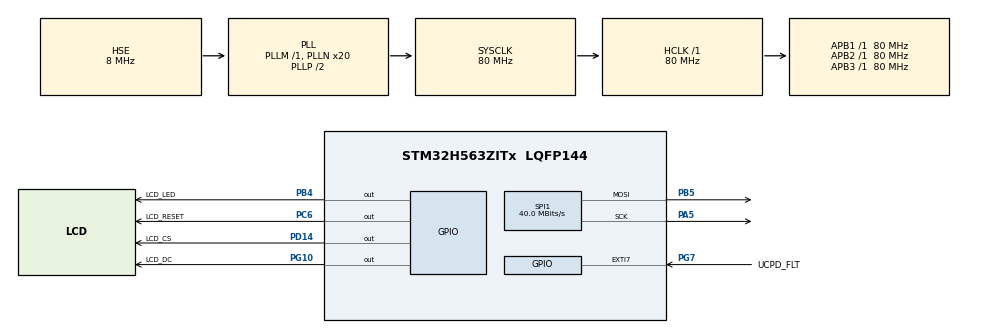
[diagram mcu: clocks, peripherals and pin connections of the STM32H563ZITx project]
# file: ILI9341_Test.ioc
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BOOTPATH.BootPathName=LEGACY
BOOTPATH.UserSelectedBootPath=LEGACY
CORTEX_M33_NS.userName=CORTEX_M33
Mcu.Family=STM32H5
Mcu.Name=STM32H563ZITx
Mcu.Package=LQFP144
NUCLEO-H563ZI.LD1=true
NUCLEO-H563ZI.LD2=true
NUCLEO-H563ZI.LD3=true
NVIC.PriorityGroup=NVIC_PRIORITYGROUP_4
PA1.GPIO_Label=RMII_REF_CLK
PA1.GPIO_Mode=GPIO_MODE_AF_PP
PA1.GPIO_PuPd=GPIO_NOPULL
PA1.GPIO_Speed=GPIO_SPEED_FREQ_LOW
PA1.Signal=ETH_REF_CLK
PA11.GPIO_Label=USB_FS_N
PA11.Signal=USB_DM
PA12.GPIO_Label=USB_FS_P
PA12.Signal=USB_DP
PA13(JTMS/SWDIO).GPIO_Label=SWDIO
PA13(JTMS/SWDIO).Mode=Serial_Wire
PA13(JTMS/SWDIO).Signal=DEBUG_JTMS-SWDIO
PA14(JTCK/SWCLK).GPIO_Label=SWCLK
PA14(JTCK/SWCLK).Mode=Serial_Wire
PA14(JTCK/SWCLK).Signal=DEBUG_JTCK-SWCLK
PA15(JTDI).GPIO_Label=T_JTDI
PA15(JTDI).Signal=DEBUG_JTDI
PA2.GPIO_Label=RMII_MDIO
PA2.GPIO_Mode=GPIO_MODE_AF_PP
PA2.GPIO_PuPd=GPIO_NOPULL
PA2.GPIO_Speed=GPIO_SPEED_FREQ_LOW
PA2.Signal=ETH_MDIO
PA4.GPIO_Label=VBUS_SENSE
PA4.Signal=ADCx_INP18
PA5.GPIO_Speed=GPIO_SPEED_FREQ_VERY_HIGH
PA5.Mode=TX_Only_Simplex_Unidirect_Master
PA5.Signal=SPI1_SCK
PA7.GPIO_Label=RMII_CRS_DV
PA7.GPIO_Mode=GPIO_MODE_AF_PP
PA7.GPIO_PuPd=GPIO_NOPULL
PA7.GPIO_Speed=GPIO_SPEED_FREQ_LOW
PA7.Signal=ETH_CRS_DV
PA9.GPIO_Label=UCDP_DBn
PA9.Signal=UCPD1_DB1
PB13.GPIO_Label=UCPD_CC1
PB13.Signal=UCPD1_CC1
PB14.GPIO_Label=UCPD_CC2
PB14.Signal=UCPD1_CC2
PB15.GPIO_Label=RMII_TXD1
PB15.GPIO_Mode=GPIO_MODE_AF_PP
PB15.GPIO_PuPd=GPIO_NOPULL
PB15.GPIO_Speed=GPIO_SPEED_FREQ_LOW
PB15.Signal=ETH_TXD1
PB4(NJTRST).GPIO_Label=LCD_LED
PB4(NJTRST).PinState=GPIO_PIN_SET
PB4(NJTRST).Signal=GPIO_Output
PB5.GPIO_Speed=GPIO_SPEED_FREQ_VERY_HIGH
PB5.Mode=TX_Only_Simplex_Unidirect_Master
PB5.Signal=SPI1_MOSI
PB6.GPIO_Label=ARD_D1_TX
PB6.Signal=LPUART1_TX
PB7.GPIO_Label=ARD_D0_RX
PB7.Signal=LPUART1_RX
PC1.GPIO_Label=RMII_MDC
PC1.GPIO_Mode=GPIO_MODE_AF_PP
PC1.GPIO_PuPd=GPIO_NOPULL
PC1.GPIO_Speed=GPIO_SPEED_FREQ_LOW
PC1.Signal=ETH_MDC
PC14-OSC32_IN(OSC32_IN).Mode=LSE-External-Oscillator
PC14-OSC32_IN(OSC32_IN).Signal=RCC_OSC32_IN
PC15-OSC32_OUT(OSC32_OUT).Mode=LSE-External-Oscillator
PC15-OSC32_OUT(OSC32_OUT).Signal=RCC_OSC32_OUT
PC4.GPIO_Label=RMII_RXD0
PC4.GPIO_Mode=GPIO_MODE_AF_PP
PC4.GPIO_PuPd=GPIO_NOPULL
PC4.GPIO_Speed=GPIO_SPEED_FREQ_LOW
PC4.Signal=ETH_RXD0
PC5.GPIO_Label=RMII_RXD1
PC5.GPIO_Mode=GPIO_MODE_AF_PP
PC5.GPIO_PuPd=GPIO_NOPULL
PC5.GPIO_Speed=GPIO_SPEED_FREQ_LOW
PC5.Signal=ETH_RXD1
PC6.GPIO_Label=LCD_RESET
PC6.PinState=GPIO_PIN_SET
PC6.Signal=GPIO_Output
PD14.GPIO_Label=LCD_CS
PD14.GPIO_Speed=GPIO_SPEED_FREQ_MEDIUM
PD14.PinState=GPIO_PIN_SET
PD14.Signal=GPIO_Output
PE2.GPIO_Label=TRACE_CK
PE2.Signal=DEBUG_TRACECLK
PE3.GPIO_Label=TRACE_D0
PE3.Signal=DEBUG_TRACED0
PE4.GPIO_Label=TRACE_D1
PE4.Signal=DEBUG_TRACED1
PE5.GPIO_Label=TRACE_D2
PE5.Signal=DEBUG_TRACED2
PE6.GPIO_Label=TRACE_D3
PE6.Signal=DEBUG_TRACED3
PG10.GPIO_Label=LCD_DC
PG10.GPIO_Speed=GPIO_SPEED_FREQ_MEDIUM
PG10.PinState=GPIO_PIN_SET
PG10.Signal=GPIO_Output
PG11.GPIO_Label=RMII_TXT_EN
PG11.GPIO_Mode=GPIO_MODE_AF_PP
PG11.GPIO_PuPd=GPIO_NOPULL
PG11.GPIO_Speed=GPIO_SPEED_FREQ_LOW
PG11.Signal=ETH_TX_EN
PG13.GPIO_Label=RMI_TXD0
PG13.GPIO_Mode=GPIO_MODE_AF_PP
PG13.GPIO_PuPd=GPIO_NOPULL
PG13.GPIO_Speed=GPIO_SPEED_FREQ_LOW
PG13.Signal=ETH_TXD0
PG7.GPIO_Label=UCPD_FLT
PG7.Signal=GPXTI7
PG9.GPIO_Speed=GPIO_SPEED_FREQ_VERY_HIGH
PG9.Signal=SPI1_MISO
PH0-OSC_IN(PH0).GPIO_Label=STLK_MCO
PH0-OSC_IN(PH0).Mode=HSE-External-Clock-Source
PH0-OSC_IN(PH0).Signal=RCC_OSC_IN
ProjectManager.HeapSize=0x200
ProjectManager.StackSize=0x400
ProjectManager.TargetToolchain=STM32CubeIDE
RCC.ADCFreq_Value=80000000
RCC.AHBFreq_Value=80000000
RCC.APB1Freq_Value=80000000
RCC.APB1TimFreq_Value=80000000
RCC.APB2Freq_Value=80000000
RCC.APB2TimFreq_Value=80000000
RCC.APB3Freq_Value=80000000
RCC.CSI_VALUE=4000000
RCC.CortexFreq_Value=80000000
RCC.EPOD_VALUE=8000000
RCC.HCLKFreq_Value=80000000
RCC.HSE_VALUE=8000000
RCC.HSI48_VALUE=48000000
RCC.HSIDiv=RCC_HSI_DIV1
RCC.HSI_VALUE=64000000
RCC.LSIRC_VALUE=32000
RCC.PLL1Q=4
RCC.PLLFRACN=0
RCC.PLLN=20
RCC.PLLSourceVirtual=RCC_PLL1_SOURCE_HSE
RCC.SYSCLKFreq_VALUE=80000000
RCC.SYSCLKSource=RCC_SYSCLKSOURCE_PLLCLK
RCC.USBFreq_Value=48000000
RCC.VCOOutputFreq_Value=160000000
SH.ADCx_INP18.0=ADC1_INP18
SPI1.BaudRatePrescaler=SPI_BAUDRATEPRESCALER_BYPASS
SPI1.CalculateBaudRate=40.0 MBits/s
SPI1.DataSize=SPI_DATASIZE_8BIT
SPI1.Direction=SPI_DIRECTION_2LINES_TXONLY
SPI1.Mode=SPI_MODE_MASTER
SPI1.NSSPMode=SPI_NSS_PULSE_DISABLE
SPI1.VirtualType=VM_MASTER
VP_BOOTPATH_VS_BOOTPATH.Mode=BP_Activate
VP_CORTEX_M33_NS_VS_Hclk.Mode=Hclk_Mode
VP_MEMORYMAP_VS_MEMORYMAP.Mode=CurAppReg
VP_NUCLEO-H563ZI_VS_BSP_COMMON.Mode=COMMON
VP_PWR_VS_DBSignals.Mode=DisableDeadBatterySignals
VP_PWR_VS_LPOM.Mode=PowerOptimisation
VP_PWR_VS_SECSignals.Mode=Security/Privilege
board=NUCLEO-H563ZI

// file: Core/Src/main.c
/* USER CODE BEGIN Header */
/**
  ******************************************************************************
  * @file           : main.c
  * @brief          : Main program body
  ******************************************************************************
  * @attention
  *
  * Copyright (c) 2026 STMicroelectronics.
  * All rights reserved.
  *
  * This software is licensed under terms that can be found in the LICENSE file
  * in the root directory of this software component.
  * If no LICENSE file comes with this software, it is provided AS-IS.
  *
  ******************************************************************************
  */
/* USER CODE END Header */
#include "main.h"
#include "spi.h"
#include "gpio.h"

/* USER CODE BEGIN Includes */
#include "ili9341.h"
#include "fonts.h"
#include "testimg.h"

#include "nyancat_0.h"
#include "nyancat_1.h"
#include "nyancat_2.h"
#include "nyancat_3.h"
#include "nyancat_4.h"
#include "nyancat_5.h"
#include "nyancat_6.h"
#include "nyancat_7.h"
/* USER CODE END Includes */

void SystemClock_Config(void);

int main(void)
{

  /* MCU Configuration--------------------------------------------------------*/

  /* Reset of all peripherals, Initializes the Flash interface and the Systick. */
  HAL_Init();

  /* Configure the system clock */
  SystemClock_Config();

  /* Initialize all configured peripherals */
  MX_GPIO_Init();
  MX_SPI1_Init();
  /* USER CODE BEGIN 2 */
  ILI9341_Unselect();
  ILI9341_Init();
  ILI9341_FillScreen(ILI9341_BLACK);
  /* USER CODE END 2 */

  /* Initialize leds */
  BSP_LED_Init(LED_GREEN);
  BSP_LED_Init(LED_YELLOW);
  BSP_LED_Init(LED_RED);

  /* Infinite loop */
  while (1)
  {

    /* USER CODE BEGIN 3 */

	  ILI9341_DrawImage(0, 0, ILI9341_WIDTH, ILI9341_HEIGHT, image_data_nyancat_0);
	  ILI9341_DrawImage(0, 0, ILI9341_WIDTH, ILI9341_HEIGHT, image_data_nyancat_1);
	  ILI9341_DrawImage(0, 0, ILI9341_WIDTH, ILI9341_HEIGHT, image_data_nyancat_2);
	  ILI9341_DrawImage(0, 0, ILI9341_WIDTH, ILI9341_HEIGHT, image_data_nyancat_3);
	  ILI9341_DrawImage(0, 0, ILI9341_WIDTH, ILI9341_HEIGHT, image_data_nyancat_4);
	  ILI9341_DrawImage(0, 0, ILI9341_WIDTH, ILI9341_HEIGHT, image_data_nyancat_5);
	  ILI9341_DrawImage(0, 0, ILI9341_WIDTH, ILI9341_HEIGHT, image_data_nyancat_6);
	  ILI9341_DrawImage(0, 0, ILI9341_WIDTH, ILI9341_HEIGHT, image_data_nyancat_7);
//	  ILI9341_FillScreen(ILI9341_RED);
//	  HAL_GPIO_WritePin(LED1_GPIO_PORT, LED1_PIN, GPIO_PIN_RESET);
//	  HAL_GPIO_WritePin(LED2_GPIO_PORT, LED2_PIN, GPIO_PIN_RESET);
//	  HAL_GPIO_WritePin(LED3_GPIO_PORT, LED3_PIN, GPIO_PIN_SET);
//	  HAL_Delay(1000);
//
//
//	  ILI9341_FillScreen(ILI9341_YELLOW);
//	  HAL_GPIO_WritePin(LED1_GPIO_PORT, LED1_PIN, GPIO_PIN_RESET);
//	  HAL_GPIO_WritePin(LED2_GPIO_PORT, LED2_PIN, GPIO_PIN_SET);
//	  HAL_GPIO_WritePin(LED3_GPIO_PORT, LED3_PIN, GPIO_PIN_RESET);
//	  HAL_Delay(1000);
//
//	  ILI9341_FillScreen(ILI9341_GREEN);
//	  HAL_GPIO_WritePin(LED1_GPIO_PORT, LED1_PIN, GPIO_PIN_SET);
//	  HAL_GPIO_WritePin(LED2_GPIO_PORT, LED2_PIN, GPIO_PIN_RESET);
//	  HAL_GPIO_WritePin(LED3_GPIO_PORT, LED3_PIN, GPIO_PIN_RESET);
//	  HAL_Delay(1000);

//	  ILI9341_DrawImage(0, 0, ILI9341_WIDTH, ILI9341_HEIGHT, test_img_240x240);

  }
  /* USER CODE END 3 */
}

void SystemClock_Config(void)
{
  RCC_OscInitTypeDef RCC_OscInitStruct = {0};
  RCC_ClkInitTypeDef RCC_ClkInitStruct = {0};

  /** Configure the main internal regulator output voltage
  */
  __HAL_PWR_VOLTAGESCALING_CONFIG(PWR_REGULATOR_VOLTAGE_SCALE3);

  while(!__HAL_PWR_GET_FLAG(PWR_FLAG_VOSRDY)) {}

  /** Initializes the RCC Oscillators according to the specified parameters
  * in the RCC_OscInitTypeDef structure.
  */
  RCC_OscInitStruct.OscillatorType = RCC_OSCILLATORTYPE_HSE;
  RCC_OscInitStruct.HSEState = RCC_HSE_BYPASS;
  RCC_OscInitStruct.PLL.PLLState = RCC_PLL_ON;
  RCC_OscInitStruct.PLL.PLLSource = RCC_PLL1_SOURCE_HSE;
  RCC_OscInitStruct.PLL.PLLM = 1;
  RCC_OscInitStruct.PLL.PLLN = 20;
  RCC_OscInitStruct.PLL.PLLP = 2;
  RCC_OscInitStruct.PLL.PLLQ = 4;
  RCC_OscInitStruct.PLL.PLLR = 2;
  RCC_OscInitStruct.PLL.PLLRGE = RCC_PLL1_VCIRANGE_3;
  RCC_OscInitStruct.PLL.PLLVCOSEL = RCC_PLL1_VCORANGE_WIDE;
  RCC_OscInitStruct.PLL.PLLFRACN = 0;
  if (HAL_RCC_OscConfig(&RCC_OscInitStruct) != HAL_OK)
  {
    Error_Handler();
  }

  /** Initializes the CPU, AHB and APB buses clocks
  */
  RCC_ClkInitStruct.ClockType = RCC_CLOCKTYPE_HCLK|RCC_CLOCKTYPE_SYSCLK
                              |RCC_CLOCKTYPE_PCLK1|RCC_CLOCKTYPE_PCLK2
                              |RCC_CLOCKTYPE_PCLK3;
  RCC_ClkInitStruct.SYSCLKSource = RCC_SYSCLKSOURCE_PLLCLK;
  RCC_ClkInitStruct.AHBCLKDivider = RCC_SYSCLK_DIV1;
  RCC_ClkInitStruct.APB1CLKDivider = RCC_HCLK_DIV1;
  RCC_ClkInitStruct.APB2CLKDivider = RCC_HCLK_DIV1;
  RCC_ClkInitStruct.APB3CLKDivider = RCC_HCLK_DIV1;

  if (HAL_RCC_ClockConfig(&RCC_ClkInitStruct, FLASH_LATENCY_3) != HAL_OK)
  {
    Error_Handler();
  }

  /** Configure the programming delay
  */
  __HAL_FLASH_SET_PROGRAM_DELAY(FLASH_PROGRAMMING_DELAY_1);
}

void Error_Handler(void)
{
  __disable_irq();
  while (1)
  {
  }
}
